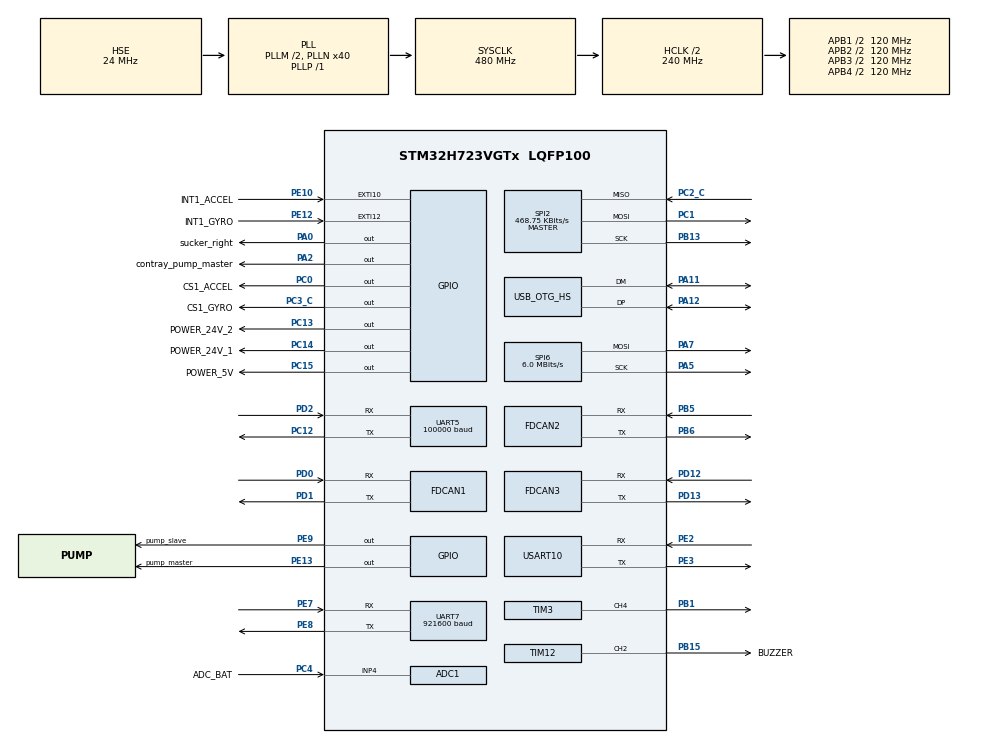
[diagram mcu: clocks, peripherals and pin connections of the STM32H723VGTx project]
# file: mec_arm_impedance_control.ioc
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ADC1.Channel-0\#ChannelRegularConversion=ADC_CHANNEL_4
ADC1.ClockPrescaler=ADC_CLOCK_ASYNC_DIV64
ADC1.ContinuousConvMode=ENABLE
ADC1.ConversionDataManagement=ADC_CONVERSIONDATA_DMA_CIRCULAR
ADC1.NbrOfConversionFlag=1
ADC1.OffsetNumber-0\#ChannelRegularConversion=ADC_OFFSET_NONE
ADC1.OffsetSignedSaturation-0\#ChannelRegularConversion=DISABLE
ADC1.Rank-0\#ChannelRegularConversion=1
ADC1.SamplingTime-0\#ChannelRegularConversion=ADC_SAMPLETIME_1CYCLE_5
ADC1.master=1
CORTEX_M7.AccessPermission-Cortex_Memory_Protection_Unit_Region0_Settings=MPU_REGION_PRIV_RO
CORTEX_M7.AccessPermission-Cortex_Memory_Protection_Unit_Region1_Settings=MPU_REGION_FULL_ACCESS
CORTEX_M7.BaseAddress-Cortex_Memory_Protection_Unit_Region0_Settings=0x08000000
CORTEX_M7.BaseAddress-Cortex_Memory_Protection_Unit_Region1_Settings=0x20000000
CORTEX_M7.Enable-Cortex_Memory_Protection_Unit_Region0_Settings=MPU_REGION_ENABLE
CORTEX_M7.Enable-Cortex_Memory_Protection_Unit_Region1_Settings=MPU_REGION_ENABLE
CORTEX_M7.IsCacheable-Cortex_Memory_Protection_Unit_Region0_Settings=MPU_ACCESS_CACHEABLE
CORTEX_M7.MPU_Control=__NULL
CORTEX_M7.Number-Cortex_Memory_Protection_Unit_Region1_Settings=MPU_REGION_NUMBER1
CORTEX_M7.Size-Cortex_Memory_Protection_Unit_Region0_Settings=MPU_REGION_SIZE_1MB
CORTEX_M7.Size-Cortex_Memory_Protection_Unit_Region1_Settings=MPU_REGION_SIZE_512MB
CORTEX_M7.SubRegionDisable-Cortex_Memory_Protection_Unit_Region1_Settings=0xAC
CORTEX_M7.TypeExtField-Cortex_Memory_Protection_Unit_Region1_Settings=MPU_TEX_LEVEL1
CORTEX_M7.default_mode_Activation=0
Dma.ADC1.2.Direction=DMA_PERIPH_TO_MEMORY
Dma.ADC1.2.EventEnable=DISABLE
Dma.ADC1.2.FIFOMode=DMA_FIFOMODE_DISABLE
Dma.ADC1.2.Instance=DMA1_Stream3
Dma.ADC1.2.MemDataAlignment=DMA_MDATAALIGN_HALFWORD
Dma.ADC1.2.MemInc=DMA_MINC_ENABLE
Dma.ADC1.2.Mode=DMA_NORMAL
Dma.ADC1.2.PeriphDataAlignment=DMA_PDATAALIGN_HALFWORD
Dma.ADC1.2.PeriphInc=DMA_PINC_DISABLE
Dma.ADC1.2.Polarity=HAL_DMAMUX_REQ_GEN_RISING
Dma.ADC1.2.Priority=DMA_PRIORITY_LOW
Dma.ADC1.2.RequestNumber=1
Dma.ADC1.2.SignalID=NONE
Dma.ADC1.2.SyncEnable=DISABLE
Dma.ADC1.2.SyncPolarity=HAL_DMAMUX_SYNC_NO_EVENT
Dma.ADC1.2.SyncRequestNumber=1
Dma.ADC1.2.SyncSignalID=NONE
Dma.Request0=SPI2_RX
Dma.Request1=SPI2_TX
Dma.Request2=ADC1
Dma.Request3=UART5_RX
Dma.Request4=UART7_RX
Dma.Request5=UART7_TX
Dma.Request6=USART10_RX
Dma.Request7=USART10_TX
Dma.SPI2_RX.0.Direction=DMA_PERIPH_TO_MEMORY
Dma.SPI2_RX.0.EventEnable=DISABLE
Dma.SPI2_RX.0.FIFOMode=DMA_FIFOMODE_DISABLE
Dma.SPI2_RX.0.Instance=DMA1_Stream7
Dma.SPI2_RX.0.MemDataAlignment=DMA_MDATAALIGN_BYTE
Dma.SPI2_RX.0.MemInc=DMA_MINC_ENABLE
Dma.SPI2_RX.0.Mode=DMA_NORMAL
Dma.SPI2_RX.0.PeriphDataAlignment=DMA_PDATAALIGN_BYTE
Dma.SPI2_RX.0.PeriphInc=DMA_PINC_DISABLE
Dma.SPI2_RX.0.Polarity=HAL_DMAMUX_REQ_GEN_RISING
Dma.SPI2_RX.0.Priority=DMA_PRIORITY_VERY_HIGH
Dma.SPI2_RX.0.RequestNumber=1
Dma.SPI2_RX.0.SignalID=NONE
Dma.SPI2_RX.0.SyncEnable=DISABLE
Dma.SPI2_RX.0.SyncPolarity=HAL_DMAMUX_SYNC_NO_EVENT
Dma.SPI2_RX.0.SyncRequestNumber=1
Dma.SPI2_RX.0.SyncSignalID=NONE
Dma.SPI2_TX.1.Direction=DMA_MEMORY_TO_PERIPH
Dma.SPI2_TX.1.EventEnable=DISABLE
Dma.SPI2_TX.1.FIFOMode=DMA_FIFOMODE_DISABLE
Dma.SPI2_TX.1.Instance=DMA1_Stream1
Dma.SPI2_TX.1.MemDataAlignment=DMA_MDATAALIGN_BYTE
Dma.SPI2_TX.1.MemInc=DMA_MINC_ENABLE
Dma.SPI2_TX.1.Mode=DMA_NORMAL
Dma.SPI2_TX.1.PeriphDataAlignment=DMA_PDATAALIGN_BYTE
Dma.SPI2_TX.1.PeriphInc=DMA_PINC_DISABLE
Dma.SPI2_TX.1.Polarity=HAL_DMAMUX_REQ_GEN_RISING
Dma.SPI2_TX.1.Priority=DMA_PRIORITY_HIGH
Dma.SPI2_TX.1.RequestNumber=1
Dma.SPI2_TX.1.SignalID=NONE
Dma.SPI2_TX.1.SyncEnable=DISABLE
Dma.SPI2_TX.1.SyncPolarity=HAL_DMAMUX_SYNC_NO_EVENT
Dma.SPI2_TX.1.SyncRequestNumber=1
Dma.SPI2_TX.1.SyncSignalID=NONE
Dma.UART5_RX.3.Direction=DMA_PERIPH_TO_MEMORY
Dma.UART5_RX.3.EventEnable=DISABLE
Dma.UART5_RX.3.FIFOMode=DMA_FIFOMODE_DISABLE
Dma.UART5_RX.3.Instance=DMA2_Stream3
Dma.UART5_RX.3.MemDataAlignment=DMA_MDATAALIGN_BYTE
Dma.UART5_RX.3.MemInc=DMA_MINC_ENABLE
Dma.UART5_RX.3.Mode=DMA_NORMAL
Dma.UART5_RX.3.PeriphDataAlignment=DMA_PDATAALIGN_BYTE
Dma.UART5_RX.3.PeriphInc=DMA_PINC_DISABLE
Dma.UART5_RX.3.Polarity=HAL_DMAMUX_REQ_GEN_RISING
Dma.UART5_RX.3.Priority=DMA_PRIORITY_VERY_HIGH
Dma.UART5_RX.3.RequestNumber=1
Dma.UART5_RX.3.SignalID=NONE
Dma.UART5_RX.3.SyncEnable=DISABLE
Dma.UART5_RX.3.SyncPolarity=HAL_DMAMUX_SYNC_NO_EVENT
Dma.UART5_RX.3.SyncRequestNumber=1
Dma.UART5_RX.3.SyncSignalID=NONE
Dma.UART7_RX.4.Direction=DMA_PERIPH_TO_MEMORY
Dma.UART7_RX.4.EventEnable=DISABLE
Dma.UART7_RX.4.FIFOMode=DMA_FIFOMODE_DISABLE
Dma.UART7_RX.4.Instance=DMA1_Stream0
Dma.UART7_RX.4.MemDataAlignment=DMA_MDATAALIGN_BYTE
Dma.UART7_RX.4.MemInc=DMA_MINC_ENABLE
Dma.UART7_RX.4.Mode=DMA_NORMAL
Dma.UART7_RX.4.PeriphDataAlignment=DMA_PDATAALIGN_BYTE
Dma.UART7_RX.4.PeriphInc=DMA_PINC_DISABLE
Dma.UART7_RX.4.Polarity=HAL_DMAMUX_REQ_GEN_RISING
Dma.UART7_RX.4.Priority=DMA_PRIORITY_HIGH
Dma.UART7_RX.4.RequestNumber=1
Dma.UART7_RX.4.SignalID=NONE
Dma.UART7_RX.4.SyncEnable=DISABLE
Dma.UART7_RX.4.SyncPolarity=HAL_DMAMUX_SYNC_NO_EVENT
Dma.UART7_RX.4.SyncRequestNumber=1
Dma.UART7_RX.4.SyncSignalID=NONE
Dma.UART7_TX.5.Direction=DMA_MEMORY_TO_PERIPH
Dma.UART7_TX.5.EventEnable=DISABLE
Dma.UART7_TX.5.FIFOMode=DMA_FIFOMODE_DISABLE
Dma.UART7_TX.5.Instance=DMA1_Stream4
Dma.UART7_TX.5.MemDataAlignment=DMA_MDATAALIGN_BYTE
Dma.UART7_TX.5.MemInc=DMA_MINC_ENABLE
Dma.UART7_TX.5.Mode=DMA_NORMAL
Dma.UART7_TX.5.PeriphDataAlignment=DMA_PDATAALIGN_BYTE
Dma.UART7_TX.5.PeriphInc=DMA_PINC_DISABLE
Dma.UART7_TX.5.Polarity=HAL_DMAMUX_REQ_GEN_RISING
Dma.UART7_TX.5.Priority=DMA_PRIORITY_HIGH
Dma.UART7_TX.5.RequestNumber=1
Dma.UART7_TX.5.SignalID=NONE
Dma.UART7_TX.5.SyncEnable=DISABLE
Dma.UART7_TX.5.SyncPolarity=HAL_DMAMUX_SYNC_NO_EVENT
Dma.UART7_TX.5.SyncRequestNumber=1
Dma.UART7_TX.5.SyncSignalID=NONE
Dma.USART10_RX.6.Direction=DMA_PERIPH_TO_MEMORY
Dma.USART10_RX.6.EventEnable=DISABLE
Dma.USART10_RX.6.FIFOMode=DMA_FIFOMODE_DISABLE
Dma.USART10_RX.6.Instance=DMA1_Stream5
Dma.USART10_RX.6.MemDataAlignment=DMA_MDATAALIGN_BYTE
Dma.USART10_RX.6.MemInc=DMA_MINC_ENABLE
Dma.USART10_RX.6.Mode=DMA_NORMAL
Dma.USART10_RX.6.PeriphDataAlignment=DMA_PDATAALIGN_BYTE
Dma.USART10_RX.6.PeriphInc=DMA_PINC_DISABLE
Dma.USART10_RX.6.Polarity=HAL_DMAMUX_REQ_GEN_RISING
Dma.USART10_RX.6.Priority=DMA_PRIORITY_LOW
Dma.USART10_RX.6.RequestNumber=1
Dma.USART10_RX.6.SignalID=NONE
Dma.USART10_RX.6.SyncEnable=DISABLE
Dma.USART10_RX.6.SyncPolarity=HAL_DMAMUX_SYNC_NO_EVENT
Dma.USART10_RX.6.SyncRequestNumber=1
Dma.USART10_RX.6.SyncSignalID=NONE
Dma.USART10_TX.7.Direction=DMA_MEMORY_TO_PERIPH
Dma.USART10_TX.7.EventEnable=DISABLE
Dma.USART10_TX.7.FIFOMode=DMA_FIFOMODE_DISABLE
Dma.USART10_TX.7.Instance=DMA1_Stream6
Dma.USART10_TX.7.MemDataAlignment=DMA_MDATAALIGN_BYTE
Dma.USART10_TX.7.MemInc=DMA_MINC_ENABLE
Dma.USART10_TX.7.Mode=DMA_NORMAL
Dma.USART10_TX.7.PeriphDataAlignment=DMA_PDATAALIGN_BYTE
Dma.USART10_TX.7.PeriphInc=DMA_PINC_DISABLE
Dma.USART10_TX.7.Polarity=HAL_DMAMUX_REQ_GEN_RISING
Dma.USART10_TX.7.Priority=DMA_PRIORITY_LOW
Dma.USART10_TX.7.RequestNumber=1
Dma.USART10_TX.7.SignalID=NONE
Dma.USART10_TX.7.SyncEnable=DISABLE
Dma.USART10_TX.7.SyncPolarity=HAL_DMAMUX_SYNC_NO_EVENT
Dma.USART10_TX.7.SyncRequestNumber=1
Dma.USART10_TX.7.SyncSignalID=NONE
FDCAN1.CalculateBaudRateNominal=1000000
FDCAN1.CalculateTimeBitNominal=1000
FDCAN1.CalculateTimeQuantumNominal=25.0
FDCAN1.DataPrescaler=3
FDCAN1.DataSyncJumpWidth=10
FDCAN1.DataTimeSeg1=29
FDCAN1.DataTimeSeg2=10
FDCAN1.NominalPrescaler=3
FDCAN1.NominalSyncJumpWidth=10
FDCAN1.NominalTimeSeg1=29
FDCAN1.NominalTimeSeg2=10
FDCAN1.ProtocolException=ENABLE
FDCAN1.RxFifo0ElmtSize=FDCAN_DATA_BYTES_8
FDCAN1.RxFifo0ElmtsNbr=4
FDCAN1.RxFifo1ElmtsNbr=4
FDCAN1.StdFiltersNbr=14
FDCAN1.TxElmtSize=FDCAN_DATA_BYTES_8
FDCAN1.TxFifoQueueElmtsNbr=8
FDCAN2.CalculateBaudRateNominal=1000000
FDCAN2.CalculateTimeBitNominal=1000
FDCAN2.CalculateTimeQuantumNominal=25.0
FDCAN2.DataPrescaler=3
FDCAN2.DataSyncJumpWidth=10
FDCAN2.DataTimeSeg1=29
FDCAN2.DataTimeSeg2=10
FDCAN2.MessageRAMOffset=0x406
FDCAN2.NominalPrescaler=3
FDCAN2.NominalSyncJumpWidth=10
FDCAN2.NominalTimeSeg1=29
FDCAN2.NominalTimeSeg2=10
FDCAN2.ProtocolException=ENABLE
FDCAN2.RxFifo0ElmtSize=FDCAN_DATA_BYTES_8
FDCAN2.RxFifo0ElmtsNbr=4
FDCAN2.RxFifo1ElmtSize=FDCAN_DATA_BYTES_8
FDCAN2.RxFifo1ElmtsNbr=4
FDCAN2.StdFiltersNbr=14
FDCAN2.TxElmtSize=FDCAN_DATA_BYTES_8
FDCAN2.TxFifoQueueElmtsNbr=4
FDCAN3.CalculateBaudRateNominal=1000000
FDCAN3.CalculateTimeBitNominal=1000
FDCAN3.CalculateTimeQuantumNominal=25.0
FDCAN3.DataPrescaler=3
FDCAN3.DataSyncJumpWidth=10
FDCAN3.DataTimeSeg1=29
FDCAN3.DataTimeSeg2=10
FDCAN3.MessageRAMOffset=0x812
FDCAN3.NominalPrescaler=3
FDCAN3.NominalSyncJumpWidth=10
FDCAN3.NominalTimeSeg1=29
FDCAN3.NominalTimeSeg2=10
FDCAN3.ProtocolException=ENABLE
FDCAN3.RxFifo0ElmtSize=FDCAN_DATA_BYTES_8
FDCAN3.RxFifo0ElmtsNbr=4
FDCAN3.RxFifo1ElmtSize=FDCAN_DATA_BYTES_8
FDCAN3.RxFifo1ElmtsNbr=4
FDCAN3.StdFiltersNbr=14
FDCAN3.TxElmtSize=FDCAN_DATA_BYTES_8
FDCAN3.TxFifoQueueElmtsNbr=4
FREERTOS.INCLUDE_eTaskGetState=1
FREERTOS.INCLUDE_pcTaskGetTaskName=1
FREERTOS.INCLUDE_uxTaskGetStackHighWaterMark=1
FREERTOS.INCLUDE_uxTaskGetStackHighWaterMark2=1
FREERTOS.INCLUDE_vTaskCleanUpResources=1
FREERTOS.INCLUDE_vTaskDelayUntil=1
FREERTOS.INCLUDE_xEventGroupSetBitFromISR=1
FREERTOS.INCLUDE_xQueueGetMutexHolder=1
FREERTOS.INCLUDE_xSemaphoreGetMutexHolder=1
FREERTOS.INCLUDE_xTaskAbortDelay=1
FREERTOS.INCLUDE_xTaskGetCurrentTaskHandle=1
FREERTOS.INCLUDE_xTaskGetHandle=1
FREERTOS.INCLUDE_xTimerPendFunctionCall=1
FREERTOS.Tasks01=test,0,128,test_task,As weak,NULL,Dynamic,NULL,NULL
FREERTOS.configENABLE_FPU=1
FREERTOS.configTOTAL_HEAP_SIZE=49152
FREERTOS.configUSE_TIMERS=1
Mcu.Family=STM32H7
Mcu.Name=STM32H723VGTx
Mcu.Package=LQFP100
NVIC.DMA1_Stream0_IRQn=true\:5\:0\:false\:false\:true\:true\:false\:true\:true
NVIC.DMA1_Stream1_IRQn=true\:5\:0\:false\:false\:false\:true\:false\:true\:true
NVIC.DMA1_Stream3_IRQn=true\:5\:0\:false\:false\:true\:true\:false\:true\:true
NVIC.DMA1_Stream4_IRQn=true\:5\:0\:false\:false\:true\:true\:false\:true\:true
NVIC.DMA1_Stream5_IRQn=true\:5\:0\:false\:false\:true\:true\:false\:true\:true
NVIC.DMA1_Stream6_IRQn=true\:5\:0\:false\:false\:true\:true\:false\:true\:true
NVIC.DMA1_Stream7_IRQn=true\:5\:0\:false\:false\:true\:true\:false\:true\:true
NVIC.DMA2_Stream3_IRQn=true\:5\:0\:false\:false\:true\:true\:false\:true\:true
NVIC.FDCAN1_IT0_IRQn=true\:6\:0\:true\:false\:true\:true\:true\:true\:true
NVIC.FDCAN1_IT1_IRQn=true\:5\:0\:false\:false\:true\:true\:true\:true\:true
NVIC.FDCAN2_IT0_IRQn=true\:6\:0\:true\:false\:true\:true\:true\:true\:true
NVIC.FDCAN2_IT1_IRQn=true\:5\:0\:false\:false\:true\:true\:true\:true\:true
NVIC.FDCAN3_IT0_IRQn=true\:6\:0\:true\:false\:true\:true\:true\:true\:true
NVIC.FDCAN3_IT1_IRQn=true\:5\:0\:false\:false\:true\:true\:true\:true\:true
NVIC.OTG_HS_IRQn=true\:5\:0\:false\:false\:true\:true\:true\:true\:true
NVIC.PriorityGroup=NVIC_PRIORITYGROUP_4
NVIC.SPI2_IRQn=true\:5\:0\:false\:false\:true\:true\:false\:true\:true
NVIC.TIM23_IRQn=true\:15\:0\:false\:false\:true\:false\:false\:true\:true
NVIC.TimeBase=TIM23_IRQn
NVIC.TimeBaseIP=TIM23
NVIC.UART5_IRQn=true\:4\:0\:true\:false\:true\:false\:true\:true\:true
NVIC.UART7_IRQn=true\:5\:0\:true\:false\:true\:true\:true\:true\:true
NVIC.USART10_IRQn=true\:5\:0\:true\:false\:true\:true\:true\:true\:true
PA0.GPIO_Label=sucker_right
PA0.Signal=GPIO_Output
PA11.Mode=Device_Only_FS
PA11.Signal=USB_OTG_HS_DM
PA12.Mode=Device_Only_FS
PA12.Signal=USB_OTG_HS_DP
PA13(JTMS/SWDIO).Mode=Serial_Wire
PA13(JTMS/SWDIO).Signal=DEBUG_JTMS-SWDIO
PA14(JTCK/SWCLK).Mode=Serial_Wire
PA14(JTCK/SWCLK).Signal=DEBUG_JTCK-SWCLK
PA2.GPIO_Label=contray_pump_master
PA2.Signal=GPIO_Output
PA5.GPIO_Speed=GPIO_SPEED_FREQ_VERY_HIGH
PA5.Mode=TX_Only_Simplex_Unidirect_Master
PA5.Signal=SPI6_SCK
PA7.GPIO_Speed=GPIO_SPEED_FREQ_VERY_HIGH
PA7.Mode=TX_Only_Simplex_Unidirect_Master
PA7.Signal=SPI6_MOSI
PB1.GPIO_PuPd=GPIO_PULLUP
PB1.GPIO_Speed=GPIO_SPEED_FREQ_HIGH
PB1.Signal=S_TIM3_CH4
PB13.GPIO_PuPd=GPIO_PULLUP
PB13.GPIO_Speed=GPIO_SPEED_FREQ_VERY_HIGH
PB13.Mode=Full_Duplex_Master
PB13.Signal=SPI2_SCK
PB15.GPIO_Label=BUZZER
PB15.Signal=S_TIM12_CH2
PB5.GPIO_Speed=GPIO_SPEED_FREQ_VERY_HIGH
PB5.Mode=FDCAN_Activate
PB5.Signal=FDCAN2_RX
PB6.GPIO_Speed=GPIO_SPEED_FREQ_VERY_HIGH
PB6.Mode=FDCAN_Activate
PB6.Signal=FDCAN2_TX
PC0.GPIO_Label=CS1_ACCEL
PC0.GPIO_PuPd=GPIO_PULLUP
PC0.GPIO_Speed=GPIO_SPEED_FREQ_HIGH
PC0.PinState=GPIO_PIN_RESET
PC0.Signal=GPIO_Output
PC1.GPIO_PuPd=GPIO_PULLUP
PC1.GPIO_Speed=GPIO_SPEED_FREQ_VERY_HIGH
PC1.Mode=Full_Duplex_Master
PC1.Signal=SPI2_MOSI
PC12.GPIO_Speed=GPIO_SPEED_FREQ_LOW
PC12.Mode=Asynchronous
PC12.Signal=UART5_TX
PC13.GPIO_Label=POWER_24V_2
PC13.GPIO_PuPd=GPIO_NOPULL
PC13.PinState=GPIO_PIN_RESET
PC13.Signal=GPIO_Output
PC14-OSC32_IN.GPIO_Label=POWER_24V_1
PC14-OSC32_IN.PinState=GPIO_PIN_RESET
PC14-OSC32_IN.Signal=GPIO_Output
PC15-OSC32_OUT.GPIO_Label=POWER_5V
PC15-OSC32_OUT.PinState=GPIO_PIN_RESET
PC15-OSC32_OUT.Signal=GPIO_Output
PC2_C.GPIO_PuPd=GPIO_PULLUP
PC2_C.GPIO_Speed=GPIO_SPEED_FREQ_VERY_HIGH
PC2_C.Mode=Full_Duplex_Master
PC2_C.Signal=SPI2_MISO
PC3_C.GPIO_Label=CS1_GYRO
PC3_C.GPIO_PuPd=GPIO_PULLUP
PC3_C.GPIO_Speed=GPIO_SPEED_FREQ_HIGH
PC3_C.PinState=GPIO_PIN_RESET
PC3_C.Signal=GPIO_Output
PC4.GPIO_Label=ADC_BAT
PC4.Signal=ADCx_INP4
PD0.GPIO_Speed=GPIO_SPEED_FREQ_VERY_HIGH
PD0.Mode=FDCAN_Activate
PD0.Signal=FDCAN1_RX
PD1.GPIO_Speed=GPIO_SPEED_FREQ_VERY_HIGH
PD1.Mode=FDCAN_Activate
PD1.Signal=FDCAN1_TX
PD12.GPIO_Speed=GPIO_SPEED_FREQ_VERY_HIGH
PD12.Mode=FDCAN_Activate
PD12.Signal=FDCAN3_RX
PD13.GPIO_Speed=GPIO_SPEED_FREQ_VERY_HIGH
PD13.Mode=FDCAN_Activate
PD13.Signal=FDCAN3_TX
PD2.Mode=Asynchronous
PD2.Signal=UART5_RX
PE10.GPIO_Label=INT1_ACCEL
PE10.GPIO_ModeDefaultEXTI=GPIO_MODE_IT_FALLING
PE10.GPIO_PuPd=GPIO_PULLUP
PE10.Signal=GPXTI10
PE12.GPIO_Label=INT1_GYRO
PE12.GPIO_ModeDefaultEXTI=GPIO_MODE_IT_FALLING
PE12.GPIO_PuPd=GPIO_PULLUP
PE12.Signal=GPXTI12
PE13.GPIO_Label=pump_master
PE13.Signal=GPIO_Output
PE2.Mode=Asynchronous
PE2.Signal=USART10_RX
PE3.Mode=Asynchronous
PE3.Signal=USART10_TX
PE7.Mode=Asynchronous
PE7.Signal=UART7_RX
PE8.Mode=Asynchronous
PE8.Signal=UART7_TX
PE9.GPIO_Label=pump_slave
PE9.Signal=GPIO_Output
PH0-OSC_IN.Mode=HSE-External-Oscillator
PH0-OSC_IN.Signal=RCC_OSC_IN
PH1-OSC_OUT.Mode=HSE-External-Oscillator
PH1-OSC_OUT.Signal=RCC_OSC_OUT
ProjectManager.HeapSize=0x2000
ProjectManager.StackSize=0x2000
ProjectManager.TargetToolchain=CMake
RCC.ADCFreq_Value=96000000
RCC.APB1Freq_Value=120000000
RCC.APB2Freq_Value=120000000
RCC.APB3Freq_Value=120000000
RCC.APB4Freq_Value=120000000
RCC.CortexFreq_Value=480000000
RCC.D1PPRE=RCC_APB3_DIV2
RCC.D2PPRE1=RCC_APB1_DIV2
RCC.D2PPRE2=RCC_APB2_DIV2
RCC.D3PPRE=RCC_APB4_DIV2
RCC.DIVM1=2
RCC.DIVM2=2
RCC.DIVN1=40
RCC.DIVN2=16
RCC.DIVP1=1
RCC.DIVQ1=4
RCC.EnbaleCSS=false
RCC.HCLKFreq_Value=240000000
RCC.HPRE=RCC_HCLK_DIV2
RCC.HSE_VALUE=24000000
RCC.PLL1_VCO_SEL-AdvancedSettings=RCC_PLL1VCOMEDIUM
RCC.PLL3_VCO_SEL-AdvancedSettings=RCC_PLL3VCOMEDIUM
RCC.PLLFRACN=0
RCC.PLLSourceVirtual=RCC_PLLSOURCE_HSE
RCC.SPI6CLockSelection=RCC_SPI6CLKSOURCE_HSE
RCC.SYSCLKFreq_VALUE=480000000
RCC.SYSCLKSource=RCC_SYSCLKSOURCE_PLLCLK
RCC.USBCLockSelection=RCC_USBCLKSOURCE_HSI48
RCC.USBFreq_Value=48000000
SH.ADCx_INP4.0=ADC1_INP4,IN4-Single-Ended
SH.S_TIM12_CH2.0=TIM12_CH2,PWM Generation2 CH2
SH.S_TIM3_CH4.0=TIM3_CH4,PWM Generation4 CH4
SPI2.BaudRatePrescaler=SPI_BAUDRATEPRESCALER_256
SPI2.CLKPhase=SPI_PHASE_2EDGE
SPI2.CLKPolarity=SPI_POLARITY_HIGH
SPI2.CalculateBaudRate=468.75 KBits/s
SPI2.DataSize=SPI_DATASIZE_8BIT
SPI2.Direction=SPI_DIRECTION_2LINES
SPI2.Mode=SPI_MODE_MASTER
SPI2.VirtualType=VM_MASTER
SPI6.BaudRatePrescaler=SPI_BAUDRATEPRESCALER_4
SPI6.CLKPhase=SPI_PHASE_2EDGE
SPI6.CalculateBaudRate=6.0 MBits/s
SPI6.DataSize=SPI_DATASIZE_8BIT
SPI6.Direction=SPI_DIRECTION_2LINES_TXONLY
SPI6.Mode=SPI_MODE_MASTER
SPI6.VirtualType=VM_MASTER
STMicroelectronics.X-CUBE-ALGOBUILD.1.4.0.LibraryCcDSPOoLibraryJjDSPOoLibrary=true
TIM12.Channel-PWM\ Generation2\ CH2=TIM_CHANNEL_2
TIM12.Period=2000-1
TIM12.Prescaler=24-1
TIM3.Channel-PWM\ Generation4\ CH4=TIM_CHANNEL_4
UART5.BaudRate=100000
UART5.Mode=MODE_TX_RX
UART5.Parity=PARITY_EVEN
UART5.StopBits=UART_STOPBITS_2
UART5.WordLength=WORDLENGTH_9B
UART7.BaudRate=921600
USART10.VirtualMode=VM_ASYNC
USB_OTG_HS.VirtualMode-Device_Only_FS=Device_Only_FS
VP_CRC_VS_CRC.Mode=CRC_Activate
VP_FREERTOS_VS_CMSIS_V1.Mode=CMSIS_V1
VP_MEMORYMAP_VS_MEMORYMAP.Mode=CurAppReg
VP_STMicroelectronics.X-CUBE-ALGOBUILD_VS_DSPOoLibraryJjLibrary_1.4.0_1.4.0.Mode=DSPOoLibraryJjLibrary
VP_SYS_VS_tim23.Mode=TIM23
VP_TIM12_VS_ClockSourceINT.Mode=Internal
VP_TIM3_VS_ClockSourceINT.Mode=Internal
board=custom

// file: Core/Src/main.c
/* USER CODE BEGIN Header */
/**
  ******************************************************************************
  * @file           : main.c
  * @brief          : Main program body
  ******************************************************************************
  * @attention
  *
  * Copyright (c) 2024 STMicroelectronics.
  * All rights reserved.
  *
  * This software is licensed under terms that can be found in the LICENSE file
  * in the root directory of this software component.
  * If no LICENSE file comes with this software, it is provided AS-IS.
  *
  ******************************************************************************
  */
/* USER CODE END Header */
#include "main.h"
#include "cmsis_os.h"
#include "adc.h"
#include "crc.h"
#include "dma.h"
#include "fdcan.h"
#include "spi.h"
#include "tim.h"
#include "usart.h"
#include "usb_otg.h"
#include "gpio.h"

void SystemClock_Config(void);
void MX_FREERTOS_Init(void);

int main(void)
{

  /* MCU Configuration--------------------------------------------------------*/

  /* Reset of all peripherals, Initializes the Flash interface and the Systick. */
  HAL_Init();

  /* Configure the system clock */
  SystemClock_Config();

  /* Initialize all configured peripherals */
  MX_GPIO_Init();
  MX_DMA_Init();
  MX_SPI2_Init();
  MX_SPI6_Init();
  MX_TIM3_Init();
  MX_TIM12_Init();
  MX_ADC1_Init();
  MX_UART5_Init();
  MX_FDCAN1_Init();
  MX_FDCAN2_Init();
  MX_FDCAN3_Init();
  MX_UART7_Init();
  MX_CRC_Init();
  MX_USART10_UART_Init();
  MX_USB_OTG_HS_PCD_Init();

  /* Call init function for freertos objects (in cmsis_os2.c) */
  MX_FREERTOS_Init();

  /* Start scheduler */
  osKernelStart();

  /* We should never get here as control is now taken by the scheduler */

  /* Infinite loop */
    while (1)
    {

    }
}

void SystemClock_Config(void)
{
  RCC_OscInitTypeDef RCC_OscInitStruct = {0};
  RCC_ClkInitTypeDef RCC_ClkInitStruct = {0};

  /** Supply configuration update enable
  */
  HAL_PWREx_ConfigSupply(PWR_LDO_SUPPLY);

  /** Configure the main internal regulator output voltage
  */
  __HAL_PWR_VOLTAGESCALING_CONFIG(PWR_REGULATOR_VOLTAGE_SCALE0);

  while(!__HAL_PWR_GET_FLAG(PWR_FLAG_VOSRDY)) {}

  /** Initializes the RCC Oscillators according to the specified parameters
  * in the RCC_OscInitTypeDef structure.
  */
  RCC_OscInitStruct.OscillatorType = RCC_OSCILLATORTYPE_HSI48|RCC_OSCILLATORTYPE_HSE;
  RCC_OscInitStruct.HSEState = RCC_HSE_ON;
  RCC_OscInitStruct.HSI48State = RCC_HSI48_ON;
  RCC_OscInitStruct.PLL.PLLState = RCC_PLL_ON;
  RCC_OscInitStruct.PLL.PLLSource = RCC_PLLSOURCE_HSE;
  RCC_OscInitStruct.PLL.PLLM = 2;
  RCC_OscInitStruct.PLL.PLLN = 40;
  RCC_OscInitStruct.PLL.PLLP = 1;
  RCC_OscInitStruct.PLL.PLLQ = 4;
  RCC_OscInitStruct.PLL.PLLR = 2;
  RCC_OscInitStruct.PLL.PLLRGE = RCC_PLL1VCIRANGE_3;
  RCC_OscInitStruct.PLL.PLLVCOSEL = RCC_PLL1VCOWIDE;
  RCC_OscInitStruct.PLL.PLLFRACN = 0;
  if (HAL_RCC_OscConfig(&RCC_OscInitStruct) != HAL_OK)
  {
    Error_Handler();
  }

  /** Initializes the CPU, AHB and APB buses clocks
  */
  RCC_ClkInitStruct.ClockType = RCC_CLOCKTYPE_HCLK|RCC_CLOCKTYPE_SYSCLK
                              |RCC_CLOCKTYPE_PCLK1|RCC_CLOCKTYPE_PCLK2
                              |RCC_CLOCKTYPE_D3PCLK1|RCC_CLOCKTYPE_D1PCLK1;
  RCC_ClkInitStruct.SYSCLKSource = RCC_SYSCLKSOURCE_PLLCLK;
  RCC_ClkInitStruct.SYSCLKDivider = RCC_SYSCLK_DIV1;
  RCC_ClkInitStruct.AHBCLKDivider = RCC_HCLK_DIV2;
  RCC_ClkInitStruct.APB3CLKDivider = RCC_APB3_DIV2;
  RCC_ClkInitStruct.APB1CLKDivider = RCC_APB1_DIV2;
  RCC_ClkInitStruct.APB2CLKDivider = RCC_APB2_DIV2;
  RCC_ClkInitStruct.APB4CLKDivider = RCC_APB4_DIV2;

  if (HAL_RCC_ClockConfig(&RCC_ClkInitStruct, FLASH_LATENCY_3) != HAL_OK)
  {
    Error_Handler();
  }
}

void HAL_TIM_PeriodElapsedCallback(TIM_HandleTypeDef *htim)
{
  if (htim->Instance == TIM23)
  {
    HAL_IncTick();
  }
}

void Error_Handler(void)
{
    __disable_irq();
    while (1)
    {
    }
}

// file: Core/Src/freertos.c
/* USER CODE BEGIN Header */
/**
  ******************************************************************************
  * File Name          : freertos.c
  * Description        : Code for freertos applications
  ******************************************************************************
  * @attention
  *
  * Copyright (c) 2024 STMicroelectronics.
  * All rights reserved.
  *
  * This software is licensed under terms that can be found in the LICENSE file
  * in the root directory of this software component.
  * If no LICENSE file comes with this software, it is provided AS-IS.
  *
  ******************************************************************************
  */
/* USER CODE END Header */

#include "FreeRTOS.h"
#include "task.h"
#include "main.h"
#include "cmsis_os.h"

/* USER CODE BEGIN Includes */
#include "spi.h"

#include "queue.h"
#include "semphr.h"
#include "event_groups.h"

#include "Board_FDCAN.h"
#include "Board_Delay.h"
#include "Board_DWT.h"

#include "Dev_BMI088_Driver.h"
#include "Dev_Remote_Control.h"
#include "Dev_FDCAN.h"
#include "Dev_Custom.h"

#include "App_Buzzer_Task.h"
#include "App_Calibrate_Task.h"
#include "App_Chassis_Task.h"
#include "App_Detect_Task.h"
#include "App_Mechanical_Arm_Task.h"
#include "App_INS_Task.h"
#include "App_LED_RGB_Flow_Task.h"
#include "App_Custom_Task.h"
#include "App_CV_Control.h"
#include "App_Referee_Task.h"
#include "App_UI_Task.h"

#include "APL_Sensor_Hub.h"
#include "APL_Motor_Hub.h"
#include "APL_Commu_Hub.h"
/* USER CODE END Includes */

osThreadId testHandle;

void test_task(void const * argument);

void MX_FREERTOS_Init(void); /* (MISRA C 2004 rule 8.1) */

/* GetIdleTaskMemory prototype (linked to static allocation support) */
void vApplicationGetIdleTaskMemory( StaticTask_t **ppxIdleTaskTCBBuffer, StackType_t **ppxIdleTaskStackBuffer, uint32_t *pulIdleTaskStackSize );

/* GetTimerTaskMemory prototype (linked to static allocation support) */
void vApplicationGetTimerTaskMemory( StaticTask_t **ppxTimerTaskTCBBuffer, StackType_t **ppxTimerTaskStackBuffer, uint32_t *pulTimerTaskStackSize );

/* USER CODE BEGIN GET_IDLE_TASK_MEMORY */
static StaticTask_t xIdleTaskTCBBuffer;
static StackType_t xIdleStack[configMINIMAL_STACK_SIZE];

void vApplicationGetIdleTaskMemory( StaticTask_t **ppxIdleTaskTCBBuffer, StackType_t **ppxIdleTaskStackBuffer, uint32_t *pulIdleTaskStackSize )
{
    *ppxIdleTaskTCBBuffer = &xIdleTaskTCBBuffer;
    *ppxIdleTaskStackBuffer = &xIdleStack[0];
    *pulIdleTaskStackSize = configMINIMAL_STACK_SIZE;
    /* place for user code */
}
/* USER CODE END GET_IDLE_TASK_MEMORY */

/* USER CODE BEGIN GET_TIMER_TASK_MEMORY */
static StaticTask_t xTimerTaskTCBBuffer;
static StackType_t xTimerStack[configTIMER_TASK_STACK_DEPTH];

void vApplicationGetTimerTaskMemory( StaticTask_t **ppxTimerTaskTCBBuffer, StackType_t **ppxTimerTaskStackBuffer, uint32_t *pulTimerTaskStackSize )
{
    *ppxTimerTaskTCBBuffer = &xTimerTaskTCBBuffer;
    *ppxTimerTaskStackBuffer = &xTimerStack[0];
    *pulTimerTaskStackSize = configTIMER_TASK_STACK_DEPTH;
    /* place for user code */
}
/* USER CODE END GET_TIMER_TASK_MEMORY */

void MX_FREERTOS_Init(void) {
  /* USER CODE BEGIN Init */
//    FDCAN_Filter_Init();
//    DWT_Init(480);
    // 电机初始化
//    MIT_Motor_Init();

  /* USER CODE END Init */

  /* Create the thread(s) */
  /* definition and creation of test */
  osThreadDef(test, test_task, osPriorityNormal, 0, 128);
  testHandle = osThreadCreate(osThread(test), NULL);

  /* USER CODE BEGIN RTOS_THREADS */
  /* add threads, ... */

    /* 创建任务：传感器（MT6701）数据解析 */
    xTaskCreate(_Thread_Sensor_Hub_, "_Thread_Sensor_Hub_", 256, NULL, osPriorityNormal, NULL);

    /* 创建任务：电机（DM4310）驱动任务 */
    xTaskCreate(_Thread_Motor_Hub_, "_Thread_Motor_Hub_", 256, NULL, osPriorityNormal, NULL);

    /* 创建任务：上位机（PC）通信任务 */
    xTaskCreate(_Thread_Commu_Hub_, "_Thread_Commu_Hub_", 256, NULL, osPriorityNormal, NULL);

    /* 创建LED闪烁任务 */
    xTaskCreate(LED_RGB_Flow_Task, "LED_RGB_Flow_Task", 256, NULL, osPriorityNormal, NULL);

    /* 创建蜂鸣器报警任务 */
    xTaskCreate(Buzzer_Task, "Buzzer_Task", 128, NULL, osPriorityNormal, NULL);

  /* USER CODE END RTOS_THREADS */

}

__weak void test_task(void const * argument)
{
    for(;;)
    {
        osDelay(1);
    }
}
